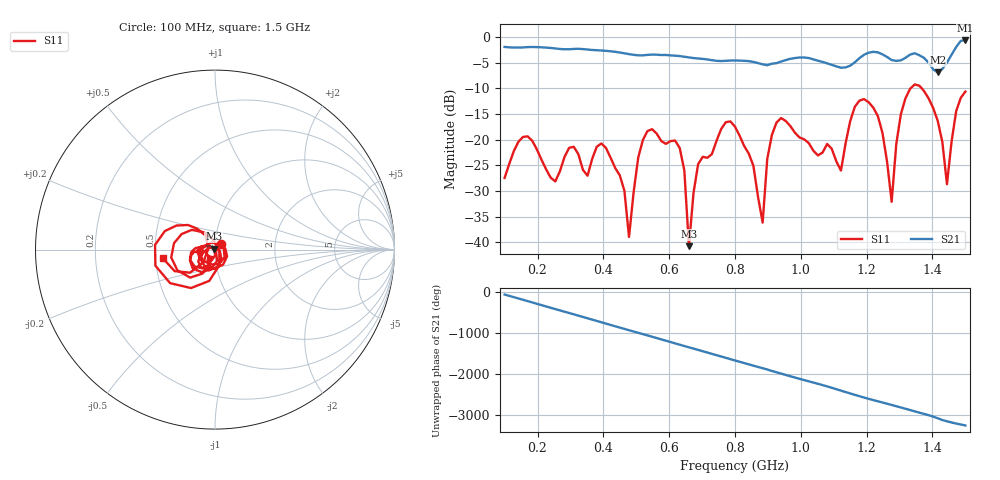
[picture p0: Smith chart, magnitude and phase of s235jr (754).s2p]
! NanoVNA-App
! Date: 2025-09-25 15:10:02
! Start: 100MHz Stop: 1,5GHz Points: 101
! S-Parameter data: F S11 S21 S12 S22
# Hz S RI R 50
!  Frequency  S11_Real  S11_Imag  S21_Real  S21_Imag  S12_Real  S12_Imag  S22_Real  S22_Imag
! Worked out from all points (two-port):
!   101 points, 100 MHz to 1.5 GHz, reference 50 ohm
!   highest |S21| = -0.70 dB at 1.5 GHz (marker M1); lowest = -6.9 dB at 1.416 GHz (marker M2)
!   |S21| within 3 dB of the highest: start of sweep to 624.7 MHz; 1.188 GHz to 1.256 GHz (68.69 MHz wide, 5.62 % of centre) (the widest 2 of 4)
!   lowest |S11| = -40.8 dB at 660 MHz (marker M3), VSWR 1.02, Z = 49.3 + j0.522 ohm
!   |S11| at or under -10 dB: start of sweep to 1.334 GHz; 1.367 GHz to end of sweep
!   S12 and S22 are empty: the file has one direction only
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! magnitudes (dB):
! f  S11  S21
! 100 MHz  -27.5  -2.0
! 170 MHz  -19.4  -2.0
! 338 MHz  -25.9  -2.4
! 408 MHz  -21.6  -2.7
! 478 MHz  -39.0  -3.4
! 520 MHz  -20.1  -3.6
! 576 MHz  -20.3  -3.5
! 632 MHz  -21.6  -3.7
! 660 MHz  -40.8  -4.0
! 688 MHz  -24.8  -4.2
! 800 MHz  -17.5  -4.6
! 884 MHz  -36.2  -5.4
! 926 MHz  -16.7  -5.1
! 1.038 GHz  -22.2  -4.4
! 1.122 GHz  -26.0  -6.0
! 1.192 GHz  -12.1  -3.5
! 1.248 GHz  -18.7  -3.4
! 1.276 GHz  -32.1  -4.5
! 1.332 GHz  -10.1  -3.5
! 1.416 GHz  -16.4  -6.9
! 1.444 GHz  -28.7  -5.0
! 1.5 GHz  -10.7  -0.7
